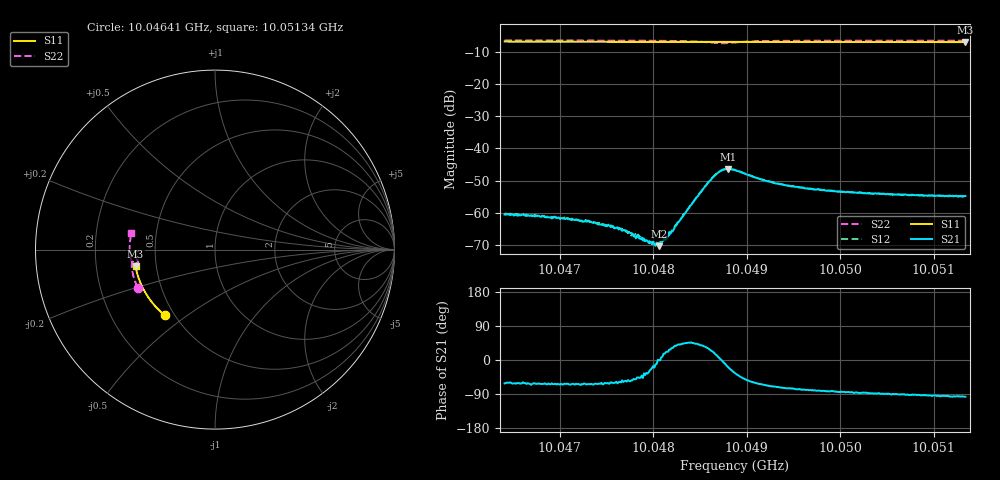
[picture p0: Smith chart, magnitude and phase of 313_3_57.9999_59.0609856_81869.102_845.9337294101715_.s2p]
#  HZ  S  RI  R  50.00
! Rohde & Schwarz Vector Network Analyzer
! Rohde-Schwarz,ZNB20-2Port,1311601062101988,3.16
! Created: UTC 3/21/2024, 1:04:17 AM
! freq[Hz]  re:S11  im:S11  re:S21  im:S21  re:S12  im:S12  re:S22  im:S22
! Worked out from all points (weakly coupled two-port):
!   401 points, 10.04641 GHz to 10.05134 GHz, reference 50 ohm
!   highest |S21| = -46.40 dB at 10.0488 GHz (marker M1); lowest = -70.4 dB at 10.04806 GHz (marker M2)
!   lowest |S11| = -6.9 dB at 10.05134 GHz (marker M3), VSWR 2.65, Z = 19 - j4.44 ohm
!   |S11| at or under -10 dB: nowhere
!   |S22| runs from -7.3 to -6.4 dB; largest |S21 - S12| = 0.00032
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1.0046412e10  -0.2812 -0.3657  0.000443 -0.000823  0.000529 -0.000829  -0.431 -0.2112
1.0046966e10  -0.3085 -0.3412  0.00036 -0.000761  0.00042 -0.000713  -0.4449 -0.1766
1.0047237e10  -0.3211 -0.3286  0.000337 -0.000674  0.000375 -0.000625  -0.451 -0.1591
1.0047286e10  -0.3233 -0.3263  0.000313 -0.000658  0.000376 -0.000664  -0.452 -0.1558
1.0047545e10  -0.3349 -0.3136  0.000326 -0.000541  0.000315 -0.000508  -0.457 -0.1383
1.0047717e10  -0.3423 -0.305  0.000285 -0.000438  0.000314 -0.000407  -0.4595 -0.1263
1.004784e10  -0.3474 -0.2987  0.000287 -0.000297  0.00034 -0.000307  -0.4613 -0.1173
1.0047963e10  -0.3525 -0.2923  0.000321 -0.000167  0.000308 -0.000126  -0.4626 -0.1082
1.0048037e10  -0.3554 -0.2886  0.000331 -6.05e-05  0.00034 -4.32e-05  -0.4632 -0.1023
1.0048062e10  -0.3564 -0.2871  0.000301 -3.2e-06  0.000335 2.43e-06  -0.4633 -0.1004
1.0048111e10  -0.3583 -0.2846  0.000356 0.000106  0.000366 0.000149  -0.4637 -0.0964
1.0048173e10  -0.3608 -0.2814  0.000443 0.000232  0.000385 0.000243  -0.4635 -0.0914
1.0048345e10  -0.3674 -0.2722  0.000711 0.000699  0.000682 0.00076  -0.4619 -0.0758
1.0048628e10  -0.3775 -0.2565  0.00314 0.00135  0.0031 0.00152  -0.4399 -0.0547
1.0048714e10  -0.3804 -0.2517  0.0044 0.000245  0.00439 0.00056  -0.4299 -0.0615
1.0048801e10  -0.3831 -0.2471  0.00454 -0.00152  0.00468 -0.00124  -0.4317 -0.0736
1.0048875e10  -0.3858 -0.243  0.00376 -0.00261  0.00399 -0.00239  -0.4411 -0.0783
1.0049133e10  -0.3944 -0.2283  0.00152 -0.003  0.00171 -0.00292  -0.4647 -0.0618
1.0049305e10  -0.3999 -0.2183  0.000966 -0.0027  0.00112 -0.00271  -0.4704 -0.0471
1.0049699e10  -0.4109 -0.1949  0.000424 -0.0023  0.000549 -0.00228  -0.4751 -0.0166
1.0050524e10  -0.43 -0.1443  2.06e-05 -0.00195  0.000117 -0.00193  -0.474 0.0412
1.0051337e10  -0.4429 -0.0927  -0.000221 -0.00181  -9.5e-05 -0.00182  -0.4659 0.0949
